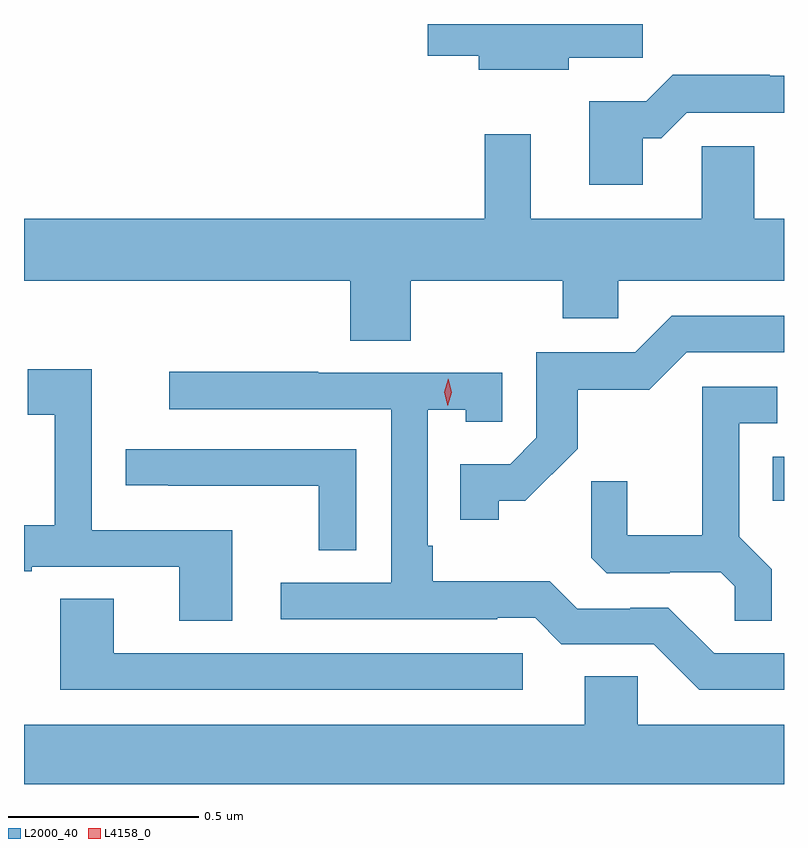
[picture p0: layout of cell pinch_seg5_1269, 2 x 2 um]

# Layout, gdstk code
import gdstk
lib = gdstk.Library(unit=1e-6, precision=1e-09)
def R(c, l, rs):  # rectangles x0, y0, x1, y1
    for r in rs: c.add(gdstk.rectangle(r[:2], r[2:], *l))
def P(c, l, *ps):  # polygons
    for p in ps: c.add(gdstk.Polygon(p, *l))
L2000_40 = (2000, 40)
L4158_0 = (4158, 0)

pinch_seg5_1269 = lib.new_cell('pinch_seg5_1269')
R(pinch_seg5_1269, L2000_40, [(443.858,896.141,443.887,896.257)])
P(pinch_seg5_1269, L2000_40, [(443.32,897.307),(443.515,897.307),(443.515,897.396),(442.95,897.396),(442.95,897.313),(443.084,897.313),(443.084,897.275),(443.32,897.275)],
  [(443.515,897.095),(443.564,897.095),(443.631,897.162),(443.887,897.162),(443.887,897.26),(443.849,897.26),(443.849,897.263),(443.594,897.263),(443.524,897.193),(443.375,897.193),(443.375,896.973),(443.515,896.973)],
  [(442.905,896.72),(443.305,896.72),(443.305,896.622),(443.451,896.622),(443.451,896.72),(443.887,896.72),(443.887,896.884),(443.809,896.884),(443.809,897.074),(443.67,897.074),(443.67,896.884),(443.221,896.884),(443.221,897.106),(443.1,897.106),(443.1,896.884),(441.887,896.884),(441.887,896.72),(442.745,896.72),(442.745,896.563),(442.905,896.563)],
  [(443.136,896.141),(443.206,896.141),(443.344,896.278),(443.344,896.434),(443.533,896.434),(443.631,896.532),(443.887,896.532),(443.887,896.628),(443.592,896.628),(443.496,896.532),(443.235,896.532),(443.235,896.307),(443.166,896.238),(443.035,896.238),(443.035,896.091),(443.136,896.091)],
  [(442.435,896.064),(442.065,896.064),(442.065,896.488),(441.897,896.488),(441.897,896.368),(441.968,896.368),(441.968,896.077),(441.887,896.077),(441.887,895.956),(441.907,895.956),(441.907,895.968),(442.295,895.968),(442.295,895.825),(442.435,895.825)],
  [(443.887,895.74),(443.703,895.74),(443.583,895.86),(443.482,895.86),(443.482,895.857),(443.343,895.857),(443.27,895.93),(442.963,895.93),(442.963,896.023),(442.95,896.023),(442.95,896.381),(443.049,896.381),(443.049,896.349),(443.145,896.349),(443.145,896.478),(442.661,896.478),(442.661,896.481),(442.269,896.481),(442.269,896.382),(442.854,896.382),(442.854,895.926),(442.563,895.926),(442.563,895.83),(443.132,895.83),(443.132,895.833),(443.232,895.833),(443.301,895.764),(443.544,895.764),(443.664,895.644),(443.887,895.644)],
  [(443.855,895.961),(443.769,896.047),(443.769,896.346),(443.869,896.346),(443.869,896.442),(443.672,896.442),(443.672,896.05),(443.474,896.05),(443.474,896.193),(443.38,896.193),(443.38,895.991),(443.421,895.95),(443.586,895.95),(443.586,895.953),(443.72,895.953),(443.757,895.916),(443.757,895.825),(443.855,895.825)],
  [(442.761,896.277),(442.155,896.277),(442.155,896.182),(442.267,896.182),(442.267,896.181),(442.663,896.181),(442.663,896.011),(442.761,896.011)],
  [(443.2,895.74),(442.123,895.74),(442.123,895.883),(441.983,895.883),(441.983,895.644),(443.2,895.644)],
  [(443.887,895.552),(443.502,895.552),(443.502,895.679),(443.363,895.679),(443.363,895.552),(441.887,895.552),(441.887,895.396),(443.887,895.396)])
P(pinch_seg5_1269, L4158_0, [(443.002,896.391),(443.002,896.391),(442.993,896.427),(443.003,896.462),(443.003,896.463),(443.003,896.462),(443.013,896.427),(443.002,896.391)])

lib.write_gds('pinch_seg5_1269.gds')
